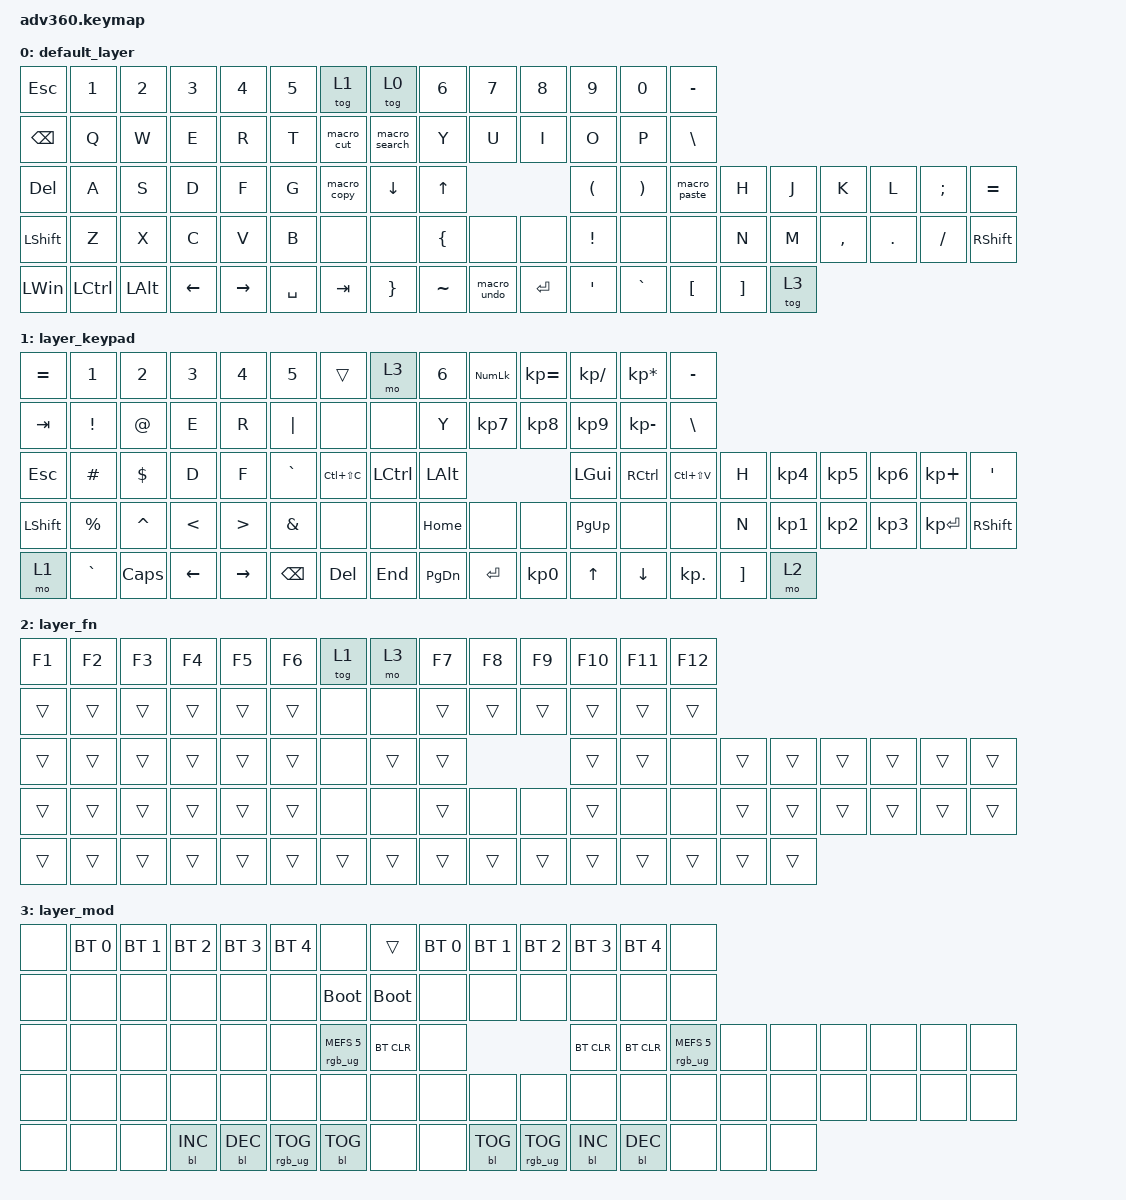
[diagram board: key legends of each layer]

/*
 * Copyright (c) 2020 The ZMK Contributors
 *
 * SPDX-License-Identifier: MIT
 */


/* THIS FILE WAS GENERATED!
 *
 * This file was generated automatically. You may or may not want to
 * edit it directly.
 */

#include <behaviors.dtsi>
#include <dt-bindings/zmk/keys.h>
#include <dt-bindings/zmk/bt.h>
#include <dt-bindings/zmk/rgb.h>
#include <dt-bindings/zmk/backlight.h>

/ {
  behaviors {
    #include "macros.dtsi"
    #include "version.dtsi"

    hm: homerow_mods {
        compatible = "zmk,behavior-hold-tap";
        label = "HOMEROW_MODS";
        #binding-cells = <2>;
        tapping-term-ms = <200>;
        quick_tap_ms = <175>;
        flavor = "tap-preferred";
        bindings = <&kp>, <&kp>;
    };
  };

    keymap {
        compatible = "zmk,keymap";


        default_layer {
            bindings = <
       &kp ESC     &kp N1        &kp N2    &kp N3     &kp N4     &kp N5                 &tog 1           &tog 0          &kp N6       &kp N7     &kp N8                &kp N9                 &kp N0     &kp MINUS
 &kp BACKSPACE      &kp Q         &kp W     &kp E      &kp R      &kp T             &macro_cut    &macro_search           &kp Y        &kp U      &kp I                 &kp O                  &kp P      &kp BSLH
       &kp DEL      &kp A         &kp S     &kp D      &kp F      &kp G            &macro_copy         &kp DOWN          &kp UP                          &kp LEFT_PARENTHESIS  &kp RIGHT_PARENTHESIS  &macro_paste     &kp H   &kp J      &kp K    &kp L  &kp SEMI  &kp EQUAL
     &kp LSHFT      &kp Z         &kp X     &kp C      &kp V      &kp B                  &none            &none  &kp LEFT_BRACE        &none      &none       &kp EXCLAMATION                  &none         &none     &kp N   &kp M  &kp COMMA  &kp DOT  &kp FSLH  &kp RSHFT
  &kp LEFT_WIN  &kp LCTRL  &kp LEFT_ALT  &kp LEFT  &kp RIGHT  &kp SPACE                &kp TAB  &kp RIGHT_BRACE       &kp TILDE  &macro_undo  &kp ENTER      &kp SINGLE_QUOTE              &kp GRAVE      &kp LBKT  &kp RBKT  &tog 3
            >;
        };

        layer_keypad {
            bindings = <
 &kp EQUAL       &kp N1       &kp N2         &kp N3            &kp N4         &kp N5                   &trans      &mo 3     &kp N6  &kp KP_NUM  &kp KP_EQUAL  &kp KP_DIVIDE  &kp KP_MULTIPLY      &kp MINUS
   &kp TAB     &kp EXCL  &kp AT_SIGN          &kp E             &kp R       &kp PIPE                    &none      &none      &kp Y   &kp KP_N7     &kp KP_N8      &kp KP_N9     &kp KP_MINUS       &kp BSLH
   &kp ESC     &kp HASH   &kp DOLLAR          &kp D             &kp F      &kp GRAVE            &kp LC(LS(C))  &kp LCTRL   &kp LALT                                 &kp LGUI        &kp RCTRL  &kp LC(LS(V))     &kp H  &kp KP_N4  &kp KP_N5  &kp KP_N6   &kp KP_PLUS    &kp SQT
 &kp LSHFT  &kp PERCENT    &kp CARET  &kp LESS_THAN  &kp GREATER_THAN  &kp AMPERSAND                    &none      &none   &kp HOME       &none         &none      &kp PG_UP            &none          &none     &kp N  &kp KP_N1  &kp KP_N2  &kp KP_N3  &kp KP_ENTER  &kp RSHFT
     &mo 1    &kp GRAVE     &kp CAPS       &kp LEFT         &kp RIGHT       &kp BSPC                  &kp DEL    &kp END  &kp PG_DN   &kp ENTER     &kp KP_N0         &kp UP         &kp DOWN     &kp KP_DOT  &kp RBKT      &mo 2
            >;
        };

        layer_fn {
            bindings = <
 &kp F1  &kp F2  &kp F3  &kp F4  &kp F5  &kp F6            &tog 1   &mo 3  &kp F7  &kp F8  &kp F9  &kp F10  &kp F11  &kp F12
 &trans  &trans  &trans  &trans  &trans  &trans             &none   &none  &trans  &trans  &trans   &trans   &trans   &trans
 &trans  &trans  &trans  &trans  &trans  &trans             &none  &trans  &trans                   &trans   &trans    &none  &trans  &trans  &trans  &trans  &trans  &trans
 &trans  &trans  &trans  &trans  &trans  &trans             &none   &none  &trans   &none   &none   &trans    &none    &none  &trans  &trans  &trans  &trans  &trans  &trans
 &trans  &trans  &trans  &trans  &trans  &trans            &trans  &trans  &trans  &trans  &trans   &trans   &trans   &trans  &trans  &trans
            >;
        };

        layer_mod {
            bindings = <
  &none  &bt BT_SEL 0  &bt BT_SEL 1  &bt BT_SEL 2  &bt BT_SEL 3     &bt BT_SEL 4                             &none       &trans  &bt BT_SEL 0  &bt BT_SEL 1     &bt BT_SEL 2  &bt BT_SEL 3  &bt BT_SEL 4                   &none
  &none         &none         &none         &none         &none            &none                       &bootloader  &bootloader         &none         &none            &none         &none         &none                   &none
  &none         &none         &none         &none         &none            &none            &rgb_ug RGB_MEFS_CMD 5   &bt BT_CLR         &none                                   &bt BT_CLR    &bt BT_CLR  &rgb_ug RGB_MEFS_CMD 5   &none   &none   &none   &none   &none   &none
  &none         &none         &none         &none         &none            &none                             &none        &none         &none         &none            &none         &none         &none                   &none   &none   &none   &none   &none   &none   &none
  &none         &none         &none    &bl BL_INC    &bl BL_DEC  &rgb_ug RGB_TOG                        &bl BL_TOG        &none         &none    &bl BL_TOG  &rgb_ug RGB_TOG    &bl BL_INC    &bl BL_DEC                   &none   &none   &none
            >;
        };

    };
};
